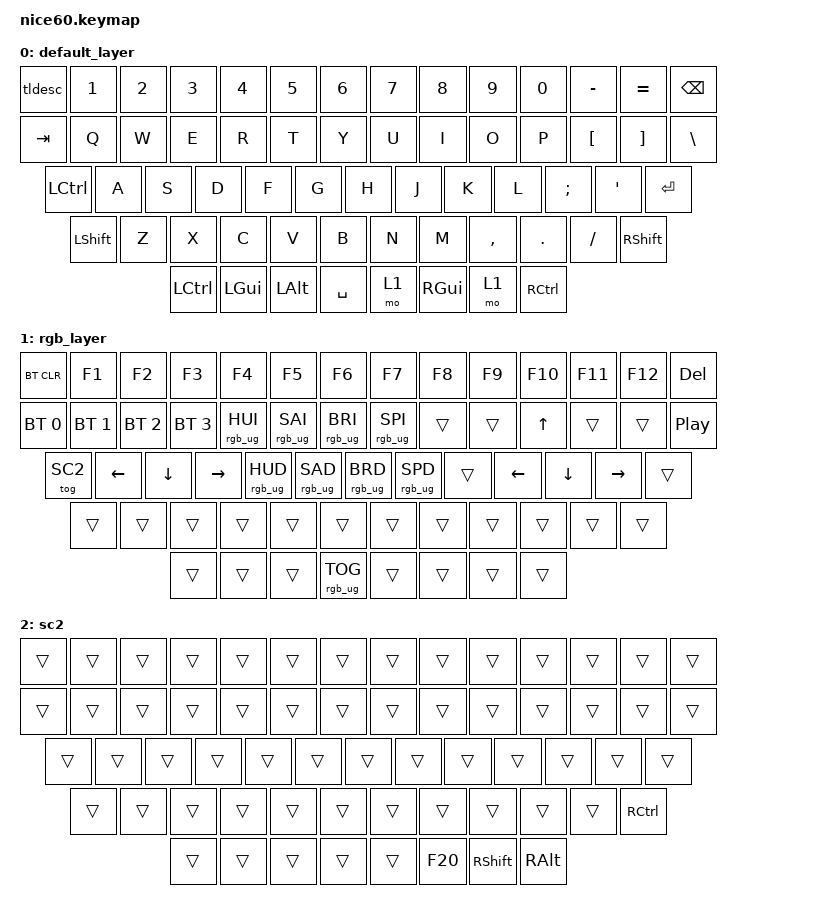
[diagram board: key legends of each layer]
/*
 * Copyright (c) 2021 Nick Winans
 *
 * SPDX-License-Identifier: MIT
 */

#include <behaviors.dtsi>
#include <dt-bindings/zmk/keys.h>
#include <dt-bindings/zmk/rgb.h>
#include <dt-bindings/zmk/bt.h>
#include <dt-bindings/zmk/outputs.h>
#include <dt-bindings/zmk/reset.h>
#include <dt-bindings/zmk/ext_power.h>

#define DEFAULT 0
#define RGB 1
#define SC2 2

/ {

    behaviors {
       	 tldesc: tilde_escape {
            compatible = "zmk,behavior-mod-morph";
            label = "TILDE_ESCAPE";
            #binding-cells = <0>;
            bindings = <&kp ESC>, <&kp TILDE>;
            mods = <(MOD_LGUI|MOD_LSFT|MOD_RGUI|MOD_RSFT)>;
        };
    };
	
	
	keymap {
		compatible = "zmk,keymap";
		
		default_layer {
// ------------------------------------------------------------------------------------------
// | ESC |  1  |  2  |  3  |  4  |  5  |  6  |  7  |  8  |  9  |  0  |  -  |  =  |   BKSP   |
// | TAB  |  Q  |  W  |  E  |  R  |  T  |  Y  |  U  |  I  |  O  |  P  |  [  |  ]  |   "|"   |
// | CTL   |  A  |  S  |  D  |  F  |  G  |  H  |  J  |  K  |  L  |  ;  |  '  |     ENTER    |
// |  SHIFT  |  Z  |  X  |  C  |  V  |  B  |  N  |  M  |  ,  |  .  |  /  |      SHIFT       |
// |  CTL  |  WIN  |  ALT  |            SPACE              |  MO(1)  |  WIN  |  ??? |  CTL  |
// ------------------------------------------------------------------------------------------
			bindings = <
	&tldesc &kp N1 &kp N2 &kp N3 &kp N4 &kp N5 &kp N6 &kp N7 &kp N8 &kp N9 &kp N0 &kp MINUS &kp EQUAL  &kp BSPC
	&kp TAB  &kp Q  &kp W  &kp E  &kp R  &kp T  &kp Y  &kp U  &kp I  &kp O  &kp P  &kp LBKT  &kp RBKT  &kp BSLH
	&kp LCTRL  &kp A  &kp S  &kp D  &kp F  &kp G  &kp H  &kp J  &kp K  &kp L  &kp SEMI &kp SQT           &kp RET
	&kp LSHFT   &kp Z  &kp X  &kp C  &kp V  &kp B  &kp N  &kp M  &kp COMMA &kp DOT &kp FSLH           &kp RSHFT
	&kp LCTRL &kp LGUI &kp LALT             &kp SPACE                     &mo 1  &kp RGUI  &mo 1   &kp RCTRL
			>;
		};

		rgb_layer {
// ------------------------------------------------------------------------------------------------
// | BT CLR | F1  | F2  | F3  | F4  | F5  | F6  | F7  | F8  | F9  | F10  | F11 | F12 |      DEL   |
// |  BT 1   |BT 2|BT 3|BT 4| HUEUP | SATUP | BRIUP | SPDUP |   |    |    | UP  |     |PLAY/PAUSE |
// |  SC2   | LT |  DN  | RT | HUEDN | SATDN | BRIDN | SPDDN |   |LEFT| DOWN  | RIGHT |         |
// |             |     |      |      |     |     |     |     |     | <-RGB | RGB-> |              |
// |         |      |      |             TOG RGB                |   NULL  |       |       |       |
// ------------------------------------------------------------------------------------------------
			bindings = <
	&bt BT_CLR   &kp F1    &kp F2    &kp F3  &kp F4           &kp F5          &kp F6          &kp F7          &kp F8   &kp F9   &kp F10  &kp F11 &kp F12  &kp DEL
	&bt BT_SEL 0  &bt BT_SEL 1 &bt BT_SEL 2 &bt BT_SEL 3 &rgb_ug RGB_HUI  &rgb_ug RGB_SAI &rgb_ug RGB_BRI &rgb_ug RGB_SPI  &trans   &trans   &kp UP &trans &trans   &kp C_PLAY_PAUSE 
	&tog SC2   &kp LEFT  &kp DOWN  &kp RIGHT &rgb_ug RGB_HUD &rgb_ug RGB_SAD &rgb_ug RGB_BRD &rgb_ug RGB_SPD &trans   &kp LEFT   &kp DOWN        &kp RIGHT &trans
	&trans          &trans    &trans    &trans   &trans          &trans          &trans          &trans          &trans   &trans   &trans           &trans
	&trans       &trans   &trans                            &rgb_ug RGB_TOG                                      &trans      &trans      &trans         &trans
			>;
		};
		
		sc2 {
// ------------------------------------------------------------------------------------------------
// |       |      |      |     |     |     |     |     |     |     |     |    |    |              |
// |         |    |    |    |      |       |      |      |   |    |    |     |     |              |
// |          |     |      |      |      |       |      |       |    |    |      |      |         |
// |             |      |      |      |     |      |     |     |     |      |       |     CTRL    |
// |         |      |      |                                    |         |  Esc  | Shift |  ALT  |
// ------------------------------------------------------------------------------------------------
			bindings = <
	&trans   &trans    &trans    &trans  &trans           &trans        &trans      &trans      &trans   &trans   &trans  &trans &trans  &trans
	&trans    &trans    &trans    &trans    &trans     &trans    &trans    &trans   &trans    &trans    &trans     &trans    &trans     &trans 
	&trans    &trans    &trans    &trans    &trans    &trans    &trans    &trans    &trans     &trans     &trans        &trans     &trans
	&trans          &trans    &trans    &trans   &trans          &trans          &trans          &trans          &trans   &trans   &trans     &kp RCTRL
	&trans       &trans   &trans                            &trans                                      &trans      &kp F20      &kp RSHFT      &kp RALT
			>;
		};
	};
};
